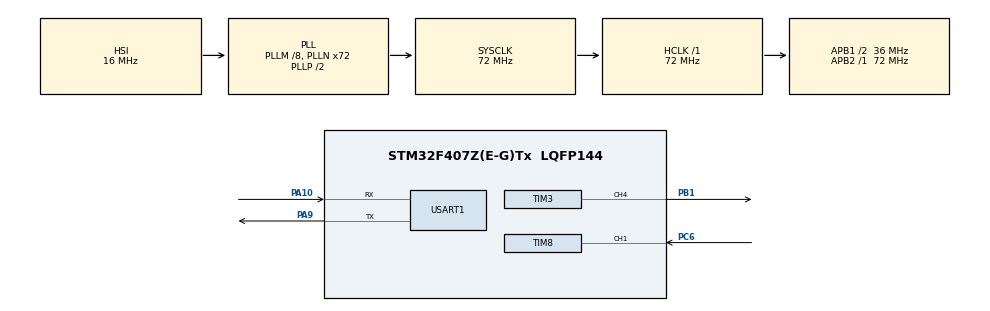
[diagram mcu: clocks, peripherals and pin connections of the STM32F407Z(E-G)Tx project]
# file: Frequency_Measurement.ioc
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Mcu.Family=STM32F4
Mcu.Name=STM32F407Z(E-G)Tx
Mcu.Package=LQFP144
NVIC.PriorityGroup=NVIC_PRIORITYGROUP_4
NVIC.TIM8_CC_IRQn=true\:0\:0\:false\:false\:true\:true\:true\:true
PA10.Mode=Asynchronous
PA10.Signal=USART1_RX
PA13.Mode=Serial_Wire
PA13.Signal=SYS_JTMS-SWDIO
PA14.Mode=Serial_Wire
PA14.Signal=SYS_JTCK-SWCLK
PA9.Mode=Asynchronous
PA9.Signal=USART1_TX
PB1.Signal=S_TIM3_CH4
PC6.Signal=S_TIM8_CH1
PH0-OSC_IN.Mode=HSE-External-Oscillator
PH0-OSC_IN.Signal=RCC_OSC_IN
PH1-OSC_OUT.Mode=HSE-External-Oscillator
PH1-OSC_OUT.Signal=RCC_OSC_OUT
ProjectManager.HeapSize=0x200
ProjectManager.StackSize=0x400
ProjectManager.TargetToolchain=MDK-ARM V5.32
RCC.48MHZClocksFreq_Value=36000000
RCC.AHBFreq_Value=72000000
RCC.APB1CLKDivider=RCC_HCLK_DIV2
RCC.APB1Freq_Value=36000000
RCC.APB1TimFreq_Value=72000000
RCC.APB2Freq_Value=72000000
RCC.APB2TimFreq_Value=72000000
RCC.CortexFreq_Value=72000000
RCC.HCLKFreq_Value=72000000
RCC.HSE_VALUE=25000000
RCC.HSI_VALUE=16000000
RCC.LSE_VALUE=32768
RCC.PLLM=8
RCC.PLLN=72
RCC.SYSCLKFreq_VALUE=72000000
RCC.SYSCLKSource=RCC_SYSCLKSOURCE_PLLCLK
RCC.VCOOutputFreq_Value=144000000
SH.S_TIM3_CH4.0=TIM3_CH4,PWM Generation4 CH4
SH.S_TIM8_CH1.0=TIM8_CH1,TriggerSource_TI1FP1
SH.S_TIM8_CH1.1=TIM8_CH1,Input_Capture1_from_TI1
TIM3.AutoReloadPreload=TIM_AUTORELOAD_PRELOAD_ENABLE
TIM3.Channel-PWM\ Generation4\ CH4=TIM_CHANNEL_4
TIM3.OC4Preload_PWM=DISABLE
TIM3.Period=999
TIM3.Prescaler=71
TIM3.Pulse-PWM\ Generation4\ CH4=300
TIM8.AutoReloadPreload=TIM_AUTORELOAD_PRELOAD_ENABLE
TIM8.Channel-Input_Capture1_from_TI1=TIM_CHANNEL_1
TIM8.Channel-Input_Capture2_from_TI1_63=TIM_CHANNEL_2
TIM8.ICPolarity_CH2=TIM_INPUTCHANNELPOLARITY_FALLING
TIM8.Prescaler=71
USART1.VirtualMode=VM_ASYNC
VP_TIM3_VS_ClockSourceINT.Mode=Internal
VP_TIM8_VS_ClockSourceINT.Mode=Internal
VP_TIM8_VS_ControllerModeReset.Mode=Reset Mode
VP_TIM8_VS_indirect_ch1.Mode=Input_Capture2_from_TI1_63
board=custom

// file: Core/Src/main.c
/* USER CODE BEGIN Header */
/**
  ******************************************************************************
  * @file           : main.c
  * @brief          : Main program body
  ******************************************************************************
  * @attention
  *
  * Copyright (c) 2024 STMicroelectronics.
  * All rights reserved.
  *
  * This software is licensed under terms that can be found in the LICENSE file
  * in the root directory of this software component.
  * If no LICENSE file comes with this software, it is provided AS-IS.
  *
  ******************************************************************************
  */
/* USER CODE END Header */
#include "main.h"
#include "tim.h"
#include "usart.h"
#include "gpio.h"

/* USER CODE BEGIN Includes */
#include <stdio.h>
/* USER CODE END Includes */

/* USER CODE BEGIN PD */
#define cnt_clk 72000000/(71+1)//?????
#define arr 65535//??????
uint32_t CCR1,CCR2,end_flag;//?????????????
float duty_cycle,frequency;//??,???
/* USER CODE END PD */

void SystemClock_Config(void);

/* USER CODE BEGIN 0 */
int fputc(int ch,FILE *f)
{
    uint8_t temp[1]={ch};
    HAL_UART_Transmit(&huart1, temp, 1, 2);
	return ch;
}
/* USER CODE END 0 */

int main(void)
{
  /* USER CODE BEGIN 1 */
	//使能相关定时器以及计数结果处理代码
	HAL_TIM_PWM_Start(&htim3,TIM_CHANNEL_4);//开启PWM输出，不需要中断
	HAL_TIM_IC_Start_IT(&htim8,TIM_CHANNEL_1);
	HAL_TIM_IC_Start_IT(&htim8,TIM_CHANNEL_2);

  /* USER CODE END 1 */

  /* MCU Configuration--------------------------------------------------------*/

  /* Reset of all peripherals, Initializes the Flash interface and the Systick. */
  HAL_Init();

  /* Configure the system clock */
  SystemClock_Config();

  /* Initialize all configured peripherals */
  MX_GPIO_Init();
  MX_TIM3_Init();
  MX_TIM8_Init();
  MX_USART1_UART_Init();

  /* Infinite loop */
  /* USER CODE BEGIN WHILE */
	printf("reset\r\n");
  while (1)
  {
		if(end_flag == 1){
			printf("/r/nfrequency = %.2f HZ, Duty = %.2f \r\n", frequency, duty_cycle);
			end_flag = 0;
		}
		HAL_Delay(1000);
    /* USER CODE END WHILE */

  }
}

void SystemClock_Config(void)
{
  RCC_OscInitTypeDef RCC_OscInitStruct = {0};
  RCC_ClkInitTypeDef RCC_ClkInitStruct = {0};

  /** Configure the main internal regulator output voltage
  */
  __HAL_RCC_PWR_CLK_ENABLE();
  __HAL_PWR_VOLTAGESCALING_CONFIG(PWR_REGULATOR_VOLTAGE_SCALE1);

  /** Initializes the RCC Oscillators according to the specified parameters
  * in the RCC_OscInitTypeDef structure.
  */
  RCC_OscInitStruct.OscillatorType = RCC_OSCILLATORTYPE_HSI;
  RCC_OscInitStruct.HSIState = RCC_HSI_ON;
  RCC_OscInitStruct.HSICalibrationValue = RCC_HSICALIBRATION_DEFAULT;
  RCC_OscInitStruct.PLL.PLLState = RCC_PLL_ON;
  RCC_OscInitStruct.PLL.PLLSource = RCC_PLLSOURCE_HSI;
  RCC_OscInitStruct.PLL.PLLM = 8;
  RCC_OscInitStruct.PLL.PLLN = 72;
  RCC_OscInitStruct.PLL.PLLP = RCC_PLLP_DIV2;
  RCC_OscInitStruct.PLL.PLLQ = 4;
  if (HAL_RCC_OscConfig(&RCC_OscInitStruct) != HAL_OK)
  {
    Error_Handler();
  }

  /** Initializes the CPU, AHB and APB buses clocks
  */
  RCC_ClkInitStruct.ClockType = RCC_CLOCKTYPE_HCLK|RCC_CLOCKTYPE_SYSCLK
                              |RCC_CLOCKTYPE_PCLK1|RCC_CLOCKTYPE_PCLK2;
  RCC_ClkInitStruct.SYSCLKSource = RCC_SYSCLKSOURCE_PLLCLK;
  RCC_ClkInitStruct.AHBCLKDivider = RCC_SYSCLK_DIV1;
  RCC_ClkInitStruct.APB1CLKDivider = RCC_HCLK_DIV2;
  RCC_ClkInitStruct.APB2CLKDivider = RCC_HCLK_DIV1;

  if (HAL_RCC_ClockConfig(&RCC_ClkInitStruct, FLASH_LATENCY_2) != HAL_OK)
  {
    Error_Handler();
  }
}

/* USER CODE BEGIN 4 */
void HAL_TIM_IC_CaptureCallback(TIM_HandleTypeDef *htim)
{
	  /*PWM 信号的第一个上升沿时，定时器产生中断，计数器，CCR寄存器被复位。
    当下降沿到来时，IC2 会捕获，对应的是脉冲宽度测量，但不会产生中断。当第
	  二个上升沿时，IC1会捕获，对应的是周期宽度测量，而且会再次进入中断*/
				//printf("0");
				CCR1=HAL_TIM_ReadCapturedValue(&htim8, TIM_CHANNEL_1);
				if(CCR1!=0)
				{
					CCR2=HAL_TIM_ReadCapturedValue(&htim8, TIM_CHANNEL_2);
					frequency=(float)cnt_clk/(CCR1+1);
					duty_cycle=(float)(CCR2+1)*100/(CCR1+1);
					end_flag=1;
				}
				else
				{
					frequency=0;
					duty_cycle=0;
				}
}
/* USER CODE END 4 */

void Error_Handler(void)
{
  __disable_irq();
  while (1)
  {
  }
}
